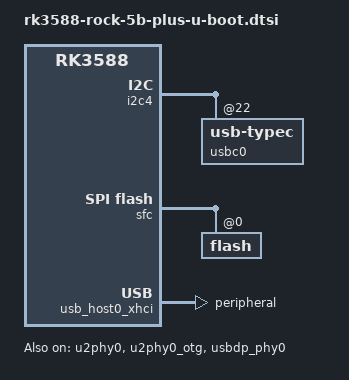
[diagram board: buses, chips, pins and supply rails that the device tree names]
// SPDX-License-Identifier: (GPL-2.0+ OR MIT)
/*
 * Copyright (c) 2023 Collabora Ltd.
 */

#include <dt-bindings/usb/pd.h>
#include "rk3588-u-boot.dtsi"

/ {
	leds {
		led_rgb_b {
			default-state = "on";
		};
	};
};

&fspim2_pins {
	bootph-pre-ram;
	bootph-some-ram;
};

&i2c4 {
	usbc0: usb-typec@22 {
		status = "okay";
	};
};

&sdhci {
	cap-mmc-highspeed;
};

&sfc {
	flash@0 {
		bootph-pre-ram;
		bootph-some-ram;
	};
};

&u2phy0 {
	status = "okay";
};

&u2phy0_otg {
	status = "okay";
};

&usbdp_phy0 {
	status = "okay";
};

&usb_host0_xhci {
	dr_mode = "peripheral";
	maximum-speed = "high-speed";
	status = "okay";
};

/* Power our M.2 3.3v + PCIe clock generator */
&vcc3v3_pi6c_05 {
	regulator-always-on;
};
